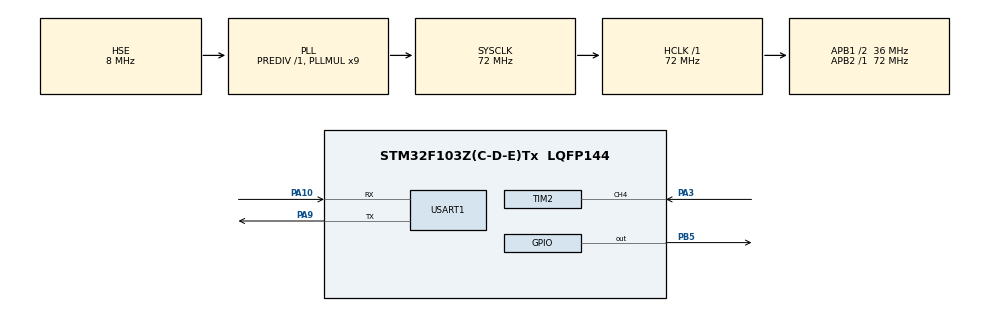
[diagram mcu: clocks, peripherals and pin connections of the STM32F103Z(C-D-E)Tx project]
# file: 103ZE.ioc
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Mcu.Family=STM32F1
Mcu.Name=STM32F103Z(C-D-E)Tx
Mcu.Package=LQFP144
NVIC.PriorityGroup=NVIC_PRIORITYGROUP_4
NVIC.TIM2_IRQn=true\:0\:0\:false\:false\:true\:true\:true\:true
NVIC.USART1_IRQn=true\:0\:0\:false\:false\:true\:true\:true\:true
OSC_IN.Mode=HSE-External-Oscillator
OSC_IN.Signal=RCC_OSC_IN
OSC_OUT.Mode=HSE-External-Oscillator
OSC_OUT.Signal=RCC_OSC_OUT
PA10.Mode=Asynchronous
PA10.Signal=USART1_RX
PA13.Mode=Serial_Wire
PA13.Signal=SYS_JTMS-SWDIO
PA14.Mode=Serial_Wire
PA14.Signal=SYS_JTCK-SWCLK
PA3.Signal=S_TIM2_CH4
PA9.Mode=Asynchronous
PA9.Signal=USART1_TX
PB5.GPIO_Speed=GPIO_SPEED_FREQ_HIGH
PB5.Signal=GPIO_Output
ProjectManager.HeapSize=0x200
ProjectManager.StackSize=0x400
ProjectManager.TargetToolchain=MDK-ARM V5.32
RCC.AHBFreq_Value=72000000
RCC.APB1CLKDivider=RCC_HCLK_DIV2
RCC.APB1Freq_Value=36000000
RCC.APB1TimFreq_Value=72000000
RCC.APB2Freq_Value=72000000
RCC.APB2TimFreq_Value=72000000
RCC.HCLKFreq_Value=72000000
RCC.PLLMUL=RCC_PLL_MUL9
RCC.PLLSourceVirtual=RCC_PLLSOURCE_HSE
RCC.SYSCLKFreq_VALUE=72000000
RCC.SYSCLKSource=RCC_SYSCLKSOURCE_PLLCLK
RCC.USBFreq_Value=72000000
SH.S_TIM2_CH4.0=TIM2_CH4,Input_Capture4_from_TI4
TIM2.AutoReloadPreload=TIM_AUTORELOAD_PRELOAD_ENABLE
TIM2.Channel-Input_Capture4_from_TI4=TIM_CHANNEL_4
TIM2.Period=65535
TIM2.Prescaler=720-1
USART1.VirtualMode=VM_ASYNC
VP_TIM2_VS_ClockSourceINT.Mode=Internal
board=custom

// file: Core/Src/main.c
/* USER CODE BEGIN Header */
/**
  ******************************************************************************
  * @file           : main.c
  * @brief          : Main program body
  ******************************************************************************
  * @attention
  *
  * Copyright (c) 2024 STMicroelectronics.
  * All rights reserved.
  *
  * This software is licensed under terms that can be found in the LICENSE file
  * in the root directory of this software component.
  * If no LICENSE file comes with this software, it is provided AS-IS.
  *
  ******************************************************************************
  */
/* USER CODE END Header */
#include "main.h"
#include "tim.h"
#include "usart.h"
#include "gpio.h"

/* USER CODE BEGIN Includes */
#include "stdio.h"
/* USER CODE END Includes */

/* USER CODE BEGIN PTD */
uint32_t capture_Buf[3] = {0};   //存放计数值
uint8_t capture_Cnt = 0;    //状态标志位
uint32_t high_time;   //高电平时间
uint8_t Tim_update_cnt=0;

//捕获状态
//[7]:0,没有成功的捕获;1,成功捕获到一次.
//[6]:0,还没捕获到低电平;1,已经捕获到低电平了.
//[5:0]:捕获低电平后溢出的次数
uint8_t  TIM2CH4_CAPTURE_STA=0;							//输入捕获状态
uint16_t	TIM2CH4_CAPTURE_VAL;							//输入捕获值(TIM5是16位)
/* USER CODE END PTD */

void SystemClock_Config(void);

int main(void)
{

  /* USER CODE BEGIN 1 */
long long temp=0;
  /* USER CODE END 1 */

  /* MCU Configuration--------------------------------------------------------*/

  /* Reset of all peripherals, Initializes the Flash interface and the Systick. */
  HAL_Init();

  /* Configure the system clock */
  SystemClock_Config();

  /* Initialize all configured peripherals */
  MX_GPIO_Init();
  MX_TIM2_Init();
  MX_USART1_UART_Init();
  /* USER CODE BEGIN 2 */
	HAL_TIM_IC_Start_IT(&htim2, TIM_CHANNEL_4);
	__HAL_TIM_ENABLE_IT(&htim2,TIM_IT_UPDATE);
  /* USER CODE END 2 */

  /* Infinite loop */
  while (1)
  {

    /* USER CODE BEGIN 3 */
	HAL_GPIO_TogglePin(GPIOB,GPIO_PIN_5);
		HAL_Delay(500);
////	switch (capture_Cnt){
////	case 0:
////		capture_Cnt++;
////		__HAL_TIM_SET_CAPTUREPOLARITY(&htim2, TIM_CHANNEL_4, TIM_INPUTCHANNELPOLARITY_RISING);
////		HAL_TIM_IC_Start_IT(&htim2, TIM_CHANNEL_4);	//启动输入捕获       或者: __HAL_TIM_ENABLE(&htim5);
////		break;
////	case 3:
////		high_time = capture_Buf[1]- capture_Buf[0];    //高电平时间
////

////	//HAL_UART_Transmit(&huart1,(uint8_t *)high_time, sizeof(high_time), 0xffff);   //发送高电平时间
////				printf("high_time is %d ms\r\n",high_time/100);
////
////		HAL_Delay(200);   //延时1S
////		capture_Cnt = 0;  //清空标志位
////		break;
////		}
	if(TIM2CH4_CAPTURE_STA&0X80)        //成功捕获到了一次高电平
		{
			temp=TIM2CH4_CAPTURE_STA&0X3F;
			temp*=5000;		 	    	//溢出时间总和
			temp+=TIM2CH4_CAPTURE_VAL;      //得到总的高电平时间
			printf("HIGH:%lld us\r\n",temp);//打印总的高点平时间
		//	HAL_UART_Transmit(&huart1,(uint8_t *)"hello,usart1",16,15);            //发送正常无误
			TIM2CH4_CAPTURE_STA=0;          //开启下一次捕获
		}
  }
  /* USER CODE END 3 */
}

void SystemClock_Config(void)
{
  RCC_OscInitTypeDef RCC_OscInitStruct = {0};
  RCC_ClkInitTypeDef RCC_ClkInitStruct = {0};

  /** Initializes the RCC Oscillators according to the specified parameters
  * in the RCC_OscInitTypeDef structure.
  */
  RCC_OscInitStruct.OscillatorType = RCC_OSCILLATORTYPE_HSE;
  RCC_OscInitStruct.HSEState = RCC_HSE_ON;
  RCC_OscInitStruct.HSEPredivValue = RCC_HSE_PREDIV_DIV1;
  RCC_OscInitStruct.HSIState = RCC_HSI_ON;
  RCC_OscInitStruct.PLL.PLLState = RCC_PLL_ON;
  RCC_OscInitStruct.PLL.PLLSource = RCC_PLLSOURCE_HSE;
  RCC_OscInitStruct.PLL.PLLMUL = RCC_PLL_MUL9;
  if (HAL_RCC_OscConfig(&RCC_OscInitStruct) != HAL_OK)
  {
    Error_Handler();
  }

  /** Initializes the CPU, AHB and APB buses clocks
  */
  RCC_ClkInitStruct.ClockType = RCC_CLOCKTYPE_HCLK|RCC_CLOCKTYPE_SYSCLK
                              |RCC_CLOCKTYPE_PCLK1|RCC_CLOCKTYPE_PCLK2;
  RCC_ClkInitStruct.SYSCLKSource = RCC_SYSCLKSOURCE_PLLCLK;
  RCC_ClkInitStruct.AHBCLKDivider = RCC_SYSCLK_DIV1;
  RCC_ClkInitStruct.APB1CLKDivider = RCC_HCLK_DIV2;
  RCC_ClkInitStruct.APB2CLKDivider = RCC_HCLK_DIV1;

  if (HAL_RCC_ClockConfig(&RCC_ClkInitStruct, FLASH_LATENCY_2) != HAL_OK)
  {
    Error_Handler();
  }
}

/* USER CODE BEGIN 4 */
struct __FILE
{
	int handle;
};

FILE __stdout;
void _sys_exit(int x){
x=x;
}
int fputc(int ch,FILE *f){
		HAL_UART_Transmit(&huart1,(uint8_t *)&ch,1,0xFFFF);
	return ch;
}

////void HAL_TIM_IC_CaptureCallback(TIM_HandleTypeDef *htim)
////{
////
////	if(TIM2 == htim->Instance)
////	{
////		switch(capture_Cnt){
////			case 1:
////				capture_Buf[0] = HAL_TIM_ReadCapturedValue(&htim2,TIM_CHANNEL_4);//获取当前的捕获值.
////				__HAL_TIM_SET_CAPTUREPOLARITY(&htim2,TIM_CHANNEL_4,TIM_ICPOLARITY_FALLING);  //设置为下降沿捕获
////				capture_Cnt++;
////				break;
////			case 2:
////				capture_Buf[1] = HAL_TIM_ReadCapturedValue(&htim2,TIM_CHANNEL_4);//获取当前的捕获值.
////				HAL_TIM_IC_Stop_IT(&htim2,TIM_CHANNEL_4); //停止捕获   或者: __HAL_TIM_DISABLE(&htim5);
////				capture_Cnt++;
////		}
////
////	}
////
////}
////void HAL_TIM_PeriodElapsedCallback(TIM_HandleTypeDef *htim){
////	Tim_update_cnt++;
////

////}

//定时器更新中断（计数溢出）中断处理回调函数， 该函数在HAL_TIM_IRQHandler中会被调用
void HAL_TIM_PeriodElapsedCallback(TIM_HandleTypeDef *htim)//更新中断（溢出）发生时执行
{
	if((TIM2CH4_CAPTURE_STA&0X80)==0)				//还未成功捕获
	{
		if(TIM2CH4_CAPTURE_STA&0X40)				//已经捕获到高电平了
		{
			if((TIM2CH4_CAPTURE_STA&0X3F)==0X3F)	//高电平太长了
			{
				TIM2CH4_CAPTURE_STA|=0X80;			//标记成功捕获了一次
				//TIM2CH4_CAPTURE_VAL=0XFFFF;          //需要这个，溢出计数就可以了，在while中做乘法
			}else TIM2CH4_CAPTURE_STA++;
		}
	}
}

//定时器输入捕获中断处理回调函数，该函数在HAL_TIM_IRQHandler中会被调用
void HAL_TIM_IC_CaptureCallback(TIM_HandleTypeDef *htim)//捕获中断发生时执行
{
	if((TIM2CH4_CAPTURE_STA&0X80)==0)				//还未成功捕获
	{
		if(TIM2CH4_CAPTURE_STA&0X40)				//捕获到一个下降沿
		{
			TIM2CH4_CAPTURE_STA|=0X80;				//标记成功捕获到一次高电平脉宽
            TIM2CH4_CAPTURE_VAL=HAL_TIM_ReadCapturedValue(&htim2,TIM_CHANNEL_4);//获取当前的捕获值.
			TIM_RESET_CAPTUREPOLARITY(&htim2,TIM_CHANNEL_4);   //一定要先清除原来的设置！！
            TIM_SET_CAPTUREPOLARITY(&htim2,TIM_CHANNEL_4,TIM_ICPOLARITY_RISING);//配置TIM2通道4上升沿捕获
		}else  										//还未开始,第一次捕获上升沿
		{
			TIM2CH4_CAPTURE_STA=0;					//清空
			TIM2CH4_CAPTURE_VAL=0;
			TIM2CH4_CAPTURE_STA|=0X40;				//标记捕获到了上升沿
			__HAL_TIM_DISABLE(&htim2);      	//关闭定时器5
			__HAL_TIM_SET_COUNTER(&htim2,0);
			TIM_RESET_CAPTUREPOLARITY(&htim2,TIM_CHANNEL_4);   //一定要先清除原来的设置！！
			TIM_SET_CAPTUREPOLARITY(&htim2,TIM_CHANNEL_4,TIM_ICPOLARITY_FALLING);//定时器2通道4设置为下降沿捕获
			__HAL_TIM_ENABLE(&htim2);		//使能定时器5
		}
	}
}
/* USER CODE END 4 */

void Error_Handler(void)
{
  __disable_irq();
  while (1)
  {
  }
}
